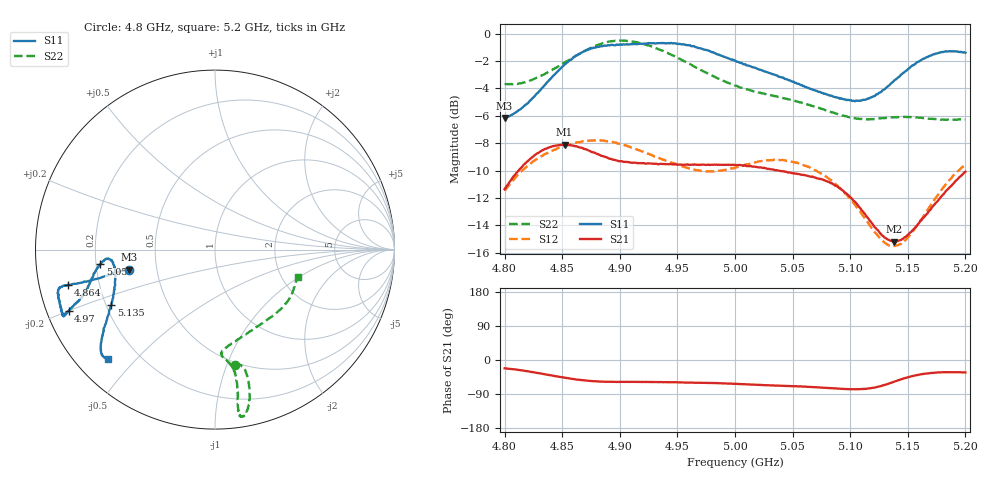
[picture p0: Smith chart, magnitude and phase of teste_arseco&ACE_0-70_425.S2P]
! Network Analyzer HP8722D
! Hewlett-Packard
! Data name: Linha & Wilkinson
! Saver's name: Rodrigo Anjos
! Comments: Teste da utilização de aquisição
! continua pelo VNA HP8722D
! Time and date: 8/5/2025 16:18
!  Frequency  S11  S21  S12  S22
# HZ  S  MA R 50
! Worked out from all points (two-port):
!   401 points, 4.8 GHz to 5.2 GHz, reference 50 ohm
!   highest |S21| = -8.10 dB at 4.852 GHz (marker M1); lowest = -15.2 dB at 5.138 GHz (marker M2)
!   |S21| within 3 dB of the highest: 4.802 GHz to 5.088 GHz (285.5 MHz wide, 5.77 % of centre); 5.187926 GHz to end of sweep
!   lowest |S11| = -6.2 dB at 4.8 GHz (marker M3), VSWR 2.94, Z = 17.2 - j5.04 ohm
!   |S11| at or under -10 dB: nowhere
!   |S22| runs from -6.3 to -0.5 dB; largest |S21 - S12| = 0.62
!   S11 on the Smith chart (normalised r, x): 4.8 GHz: 0.34, -0.10; 4.864 GHz: 0.09, -0.12; 4.97 GHz: 0.06, -0.20; 5.059 GHz: 0.22, -0.06; 5.135 GHz: 0.22, -0.24; 5.2 GHz: 0.09, -0.42
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4.8e9  0.4922 -167.0  0.2707 -21.9  0.2671 -143.1  0.6546 -80.2
4.826e9  0.5915 -166.6  0.3599 -32.8  0.3443 -147.6  0.6839 -76.2
4.852e9  0.7703 -166.1  0.3934 -46.8  0.3888 -152.0  0.7837 -75.9
4.864e9  0.8412 -166.3  0.3861 -51.9  0.4009 -153.7  0.8383 -76.8
4.867e9  0.8528 -166.3  0.3834 -53.2  0.4034 -154.2  0.8539 -76.9
4.881e9  0.8945 -166.0  0.3632 -56.5  0.4083 -156.2  0.9089 -78.6
4.9e9  0.9125 -163.2  0.3422 -57.7  0.3958 -157.8  0.9438 -80.7
4.934e9  0.9227 -157.1  0.3341 -58.4  0.3521 -156.5  0.8749 -81.6
4.97e9  0.884 -157.3  0.3326 -60.1  0.3161 -147.8  0.7369 -80.7
5e9  0.7973 -160.1  0.3316 -63.0  0.3247 -138.4  0.6459 -82.2
5.035e9  0.7055 -166.7  0.3175 -67.4  0.3466 -136.1  0.5912 -86.4
5.059e9  0.6435 -172.7  0.3053 -70.1  0.3317 -138.1  0.5581 -84.8
5.067e9  0.626 -174.1  0.301 -71.2  0.3215 -138.9  0.5446 -82.7
5.082e9  0.5944 -175.1  0.2871 -74.1  0.2944 -140.3  0.5199 -76.7
5.099e9  0.5723 -171.9  0.2558 -77.1  0.2519 -140.3  0.4951 -66.9
5.115e9  0.5794 -164.2  0.2133 -75.6  0.2053 -135.5  0.4865 -55.1
5.134e9  0.6476 -152.7  0.1763 -61.7  0.1686 -117.2  0.4937 -42.7
5.135e9  0.6544 -152.0  0.1755 -60.7  0.1685 -115.8  0.4947 -41.9
5.138e9  0.6729 -150.5  0.1742 -57.4  0.168 -111.9  0.4949 -40.4
5.151e9  0.7456 -145.4  0.1859 -44.8  0.1827 -96.0  0.4962 -33.6
5.17e9  0.8323 -139.9  0.2287 -34.3  0.2371 -82.4  0.4888 -25.3
5.2e9  0.8514 -134.4  0.3134 -33.0  0.3321 -78.6  0.487 -18.1
